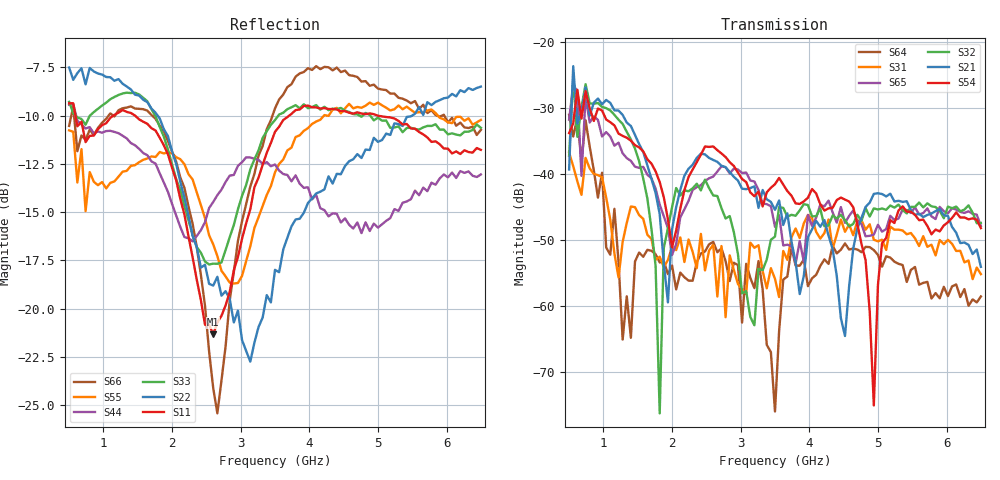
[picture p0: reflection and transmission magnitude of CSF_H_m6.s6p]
!Keysight Technologies,M9804A,MY58100912,A.14.10.03
!Date: Thursday, April 27, 2023 10:28:33
!Correction: S11(C  6-Port  )
!S12(C  6-Port  )
!S13(C  6-Port  )
!S14(C  6-Port  )
!S15(C  6-Port  )
!S16(C  6-Port  )
!S21(C  6-Port  )
!S22(C  6-Port  )
!S23(C  6-Port  )
!S24(C  6-Port  )
!S25(C  6-Port  )
!S26(C  6-Port  )
!S31(C  6-Port  )
!S32(C  6-Port  )
!S33(C  6-Port  )
!S34(C  6-Port  )
!S35(C  6-Port  )
!S36(C  6-Port  )
!S41(C  6-Port  )
!S42(C  6-Port  )
!S43(C  6-Port  )
!S44(C  6-Port  )
!S45(C  6-Port  )
!S46(C  6-Port  )
!S51(C  6-Port  )
!S52(C  6-Port  )
!S53(C  6-Port  )
!S54(C  6-Port  )
!S55(C  6-Port  )
!S56(C  6-Port  )
!S61(C  6-Port  )
!S62(C  6-Port  )
!S63(C  6-Port  )
!S64(C  6-Port  )
!S65(C  6-Port  )
!S66(C  6-Port  )
!S6P File: Measurement: :
# Hz S  RI  R 50
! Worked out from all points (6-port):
!   101 points, 500 MHz to 6.5 GHz, reference 50 ohm
!   strongest paths, dB at 500 MHz, 2 GHz, 3.5 GHz, 5 GHz, 6.5 GHz:
!     S54: -33.7, -51.0, -41.5, -56.8, -48.1
!     S21: -39.2, -48.3, -45.4, -42.9, -54.0
!     S32: -37.2, -45.0, -49.4, -45.3, -47.4
!     S65: -31.7, -52.2, -48.0, -47.6, -47.8
!     S31: -36.7, -51.0, -55.8, -50.1, -55.1
!     S64: -31.0, -53.8, -75.9, -52.2, -58.5
!   lowest |S11| = -21.3 dB at 2.6 GHz (marker M1), VSWR 1.19, Z = 42.4 + j2.3 ohm
!   |S11| at or under -10 dB: 592.1 MHz to 1.145 GHz (553.4 MHz wide, 63.7 % of centre); 1.46 GHz to 3.708 GHz (2.248 GHz wide, 87 % of centre); 4.993 GHz to end of sweep
